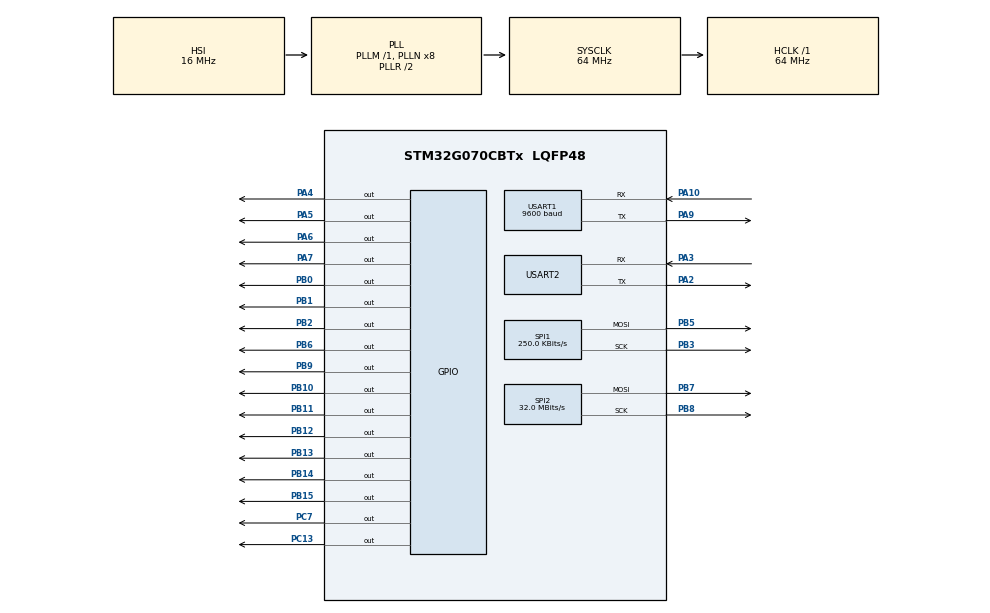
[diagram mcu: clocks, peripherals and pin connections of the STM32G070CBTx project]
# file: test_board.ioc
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Dma.Request0=USART1_RX
Dma.Request1=USART1_TX
Dma.Request2=USART2_RX
Dma.Request3=USART2_TX
Dma.USART1_RX.0.Direction=DMA_PERIPH_TO_MEMORY
Dma.USART1_RX.0.EventEnable=DISABLE
Dma.USART1_RX.0.Instance=DMA1_Channel1
Dma.USART1_RX.0.MemDataAlignment=DMA_MDATAALIGN_BYTE
Dma.USART1_RX.0.MemInc=DMA_MINC_ENABLE
Dma.USART1_RX.0.Mode=DMA_CIRCULAR
Dma.USART1_RX.0.PeriphDataAlignment=DMA_PDATAALIGN_BYTE
Dma.USART1_RX.0.PeriphInc=DMA_PINC_DISABLE
Dma.USART1_RX.0.Polarity=HAL_DMAMUX_REQ_GEN_RISING
Dma.USART1_RX.0.Priority=DMA_PRIORITY_LOW
Dma.USART1_RX.0.RequestNumber=1
Dma.USART1_RX.0.SignalID=NONE
Dma.USART1_RX.0.SyncEnable=DISABLE
Dma.USART1_RX.0.SyncPolarity=HAL_DMAMUX_SYNC_NO_EVENT
Dma.USART1_RX.0.SyncRequestNumber=1
Dma.USART1_RX.0.SyncSignalID=NONE
Dma.USART1_TX.1.Direction=DMA_MEMORY_TO_PERIPH
Dma.USART1_TX.1.EventEnable=DISABLE
Dma.USART1_TX.1.Instance=DMA1_Channel2
Dma.USART1_TX.1.MemDataAlignment=DMA_MDATAALIGN_BYTE
Dma.USART1_TX.1.MemInc=DMA_MINC_ENABLE
Dma.USART1_TX.1.Mode=DMA_NORMAL
Dma.USART1_TX.1.PeriphDataAlignment=DMA_PDATAALIGN_BYTE
Dma.USART1_TX.1.PeriphInc=DMA_PINC_DISABLE
Dma.USART1_TX.1.Polarity=HAL_DMAMUX_REQ_GEN_RISING
Dma.USART1_TX.1.Priority=DMA_PRIORITY_LOW
Dma.USART1_TX.1.RequestNumber=1
Dma.USART1_TX.1.SignalID=NONE
Dma.USART1_TX.1.SyncEnable=DISABLE
Dma.USART1_TX.1.SyncPolarity=HAL_DMAMUX_SYNC_NO_EVENT
Dma.USART1_TX.1.SyncRequestNumber=1
Dma.USART1_TX.1.SyncSignalID=NONE
Dma.USART2_RX.2.Direction=DMA_PERIPH_TO_MEMORY
Dma.USART2_RX.2.EventEnable=DISABLE
Dma.USART2_RX.2.Instance=DMA1_Channel3
Dma.USART2_RX.2.MemDataAlignment=DMA_MDATAALIGN_BYTE
Dma.USART2_RX.2.MemInc=DMA_MINC_ENABLE
Dma.USART2_RX.2.Mode=DMA_CIRCULAR
Dma.USART2_RX.2.PeriphDataAlignment=DMA_PDATAALIGN_BYTE
Dma.USART2_RX.2.PeriphInc=DMA_PINC_DISABLE
Dma.USART2_RX.2.Polarity=HAL_DMAMUX_REQ_GEN_RISING
Dma.USART2_RX.2.Priority=DMA_PRIORITY_LOW
Dma.USART2_RX.2.RequestNumber=1
Dma.USART2_RX.2.SignalID=NONE
Dma.USART2_RX.2.SyncEnable=DISABLE
Dma.USART2_RX.2.SyncPolarity=HAL_DMAMUX_SYNC_NO_EVENT
Dma.USART2_RX.2.SyncRequestNumber=1
Dma.USART2_RX.2.SyncSignalID=NONE
Dma.USART2_TX.3.Direction=DMA_MEMORY_TO_PERIPH
Dma.USART2_TX.3.EventEnable=DISABLE
Dma.USART2_TX.3.Instance=DMA1_Channel4
Dma.USART2_TX.3.MemDataAlignment=DMA_MDATAALIGN_BYTE
Dma.USART2_TX.3.MemInc=DMA_MINC_ENABLE
Dma.USART2_TX.3.Mode=DMA_NORMAL
Dma.USART2_TX.3.PeriphDataAlignment=DMA_PDATAALIGN_BYTE
Dma.USART2_TX.3.PeriphInc=DMA_PINC_DISABLE
Dma.USART2_TX.3.Polarity=HAL_DMAMUX_REQ_GEN_RISING
Dma.USART2_TX.3.Priority=DMA_PRIORITY_LOW
Dma.USART2_TX.3.RequestNumber=1
Dma.USART2_TX.3.SignalID=NONE
Dma.USART2_TX.3.SyncEnable=DISABLE
Dma.USART2_TX.3.SyncPolarity=HAL_DMAMUX_SYNC_NO_EVENT
Dma.USART2_TX.3.SyncRequestNumber=1
Dma.USART2_TX.3.SyncSignalID=NONE
Mcu.Family=STM32G0
Mcu.Name=STM32G070CBTx
Mcu.Package=LQFP48
NVIC.DMA1_Ch4_7_DMAMUX1_OVR_IRQn=true\:0\:0\:false\:false\:true\:false\:true
NVIC.DMA1_Channel1_IRQn=true\:0\:0\:false\:false\:true\:false\:true
NVIC.DMA1_Channel2_3_IRQn=true\:0\:0\:false\:false\:true\:false\:true
NVIC.TIM1_BRK_UP_TRG_COM_IRQn=true\:0\:0\:false\:false\:true\:true\:true
NVIC.USART1_IRQn=true\:0\:0\:false\:false\:true\:true\:true
NVIC.USART2_IRQn=true\:0\:0\:false\:false\:true\:true\:true
PA10.Mode=Asynchronous
PA10.Signal=USART1_RX
PA13.Mode=Serial_Wire
PA13.Signal=SYS_SWDIO
PA14-BOOT0.Mode=Serial_Wire
PA14-BOOT0.Signal=SYS_SWCLK
PA2.Mode=Asynchronous
PA2.Signal=USART2_TX
PA3.Mode=Asynchronous
PA3.Signal=USART2_RX
PA4.Signal=GPIO_Output
PA5.Signal=GPIO_Output
PA6.Signal=GPIO_Output
PA7.Signal=GPIO_Output
PA9.Mode=Asynchronous
PA9.Signal=USART1_TX
PB0.Signal=GPIO_Output
PB1.Signal=GPIO_Output
PB10.Signal=GPIO_Output
PB11.Signal=GPIO_Output
PB12.Signal=GPIO_Output
PB13.Signal=GPIO_Output
PB14.Signal=GPIO_Output
PB15.Signal=GPIO_Output
PB2.Signal=GPIO_Output
PB3.Mode=TX_Only_Simplex_Unidirect_Master
PB3.Signal=SPI1_SCK
PB5.Mode=TX_Only_Simplex_Unidirect_Master
PB5.Signal=SPI1_MOSI
PB6.Signal=GPIO_Output
PB7.Mode=TX_Only_Simplex_Unidirect_Master
PB7.Signal=SPI2_MOSI
PB8.Mode=TX_Only_Simplex_Unidirect_Master
PB8.Signal=SPI2_SCK
PB9.Signal=GPIO_Output
PC13.Signal=GPIO_Output
PC7.Signal=GPIO_Output
ProjectManager.HeapSize=0x200
ProjectManager.StackSize=0x400
ProjectManager.TargetToolchain=MDK-ARM V5.32
RCC.ADCFreq_Value=64000000
RCC.AHBFreq_Value=64000000
RCC.CortexFreq_Value=64000000
RCC.EXTERNAL_CLOCK_VALUE=48000
RCC.HCLKFreq_Value=64000000
RCC.HSE_VALUE=8000000
RCC.HSI_VALUE=16000000
RCC.LSE_VALUE=32768
RCC.SYSCLKFreq_VALUE=64000000
RCC.SYSCLKSource=RCC_SYSCLKSOURCE_PLLCLK
RCC.VCOOutputFreq_Value=128000000
SPI1.BaudRatePrescaler=SPI_BAUDRATEPRESCALER_256
SPI1.CalculateBaudRate=250.0 KBits/s
SPI1.DataSize=SPI_DATASIZE_8BIT
SPI1.Direction=SPI_DIRECTION_2LINES
SPI1.Mode=SPI_MODE_MASTER
SPI1.VirtualType=VM_MASTER
SPI2.CLKPolarity=SPI_POLARITY_HIGH
SPI2.CalculateBaudRate=32.0 MBits/s
SPI2.DataSize=SPI_DATASIZE_8BIT
SPI2.Direction=SPI_DIRECTION_2LINES
SPI2.Mode=SPI_MODE_MASTER
SPI2.VirtualType=VM_MASTER
TIM1.AutoReloadPreload=TIM_AUTORELOAD_PRELOAD_ENABLE
TIM1.Period=30000-1
TIM1.Prescaler=64-1
USART1.BaudRate=9600
USART1.VirtualMode-Asynchronous=VM_ASYNC
USART2.VirtualMode-Asynchronous=VM_ASYNC
VP_SYS_VS_DBSignals.Mode=DisableDeadBatterySignals
VP_TIM1_VS_ClockSourceINT.Mode=Internal
board=custom

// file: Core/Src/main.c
/* USER CODE BEGIN Header */
/**
  ******************************************************************************
  * @file           : main.c
  * @brief          : Main program body
  ******************************************************************************
  * @attention
  *
  * Copyright (c) 2022 STMicroelectronics.
  * All rights reserved.
  *
  * This software is licensed under terms that can be found in the LICENSE file
  * in the root directory of this software component.
  * If no LICENSE file comes with this software, it is provided AS-IS.
  *
  ******************************************************************************
  */
/* USER CODE END Header */
#include "main.h"
#include "dma.h"
#include "spi.h"
#include "tim.h"
#include "usart.h"
#include "gpio.h"

/* USER CODE BEGIN Includes */
#include "math.h"
#include "SEGGER_RTT.h"
#include "hal_spi.h"
#include "hal_uart.h"
#include "hal_key.h"
#include "hal_base.h"
#include "com_lcd_dev.h"
#include "com_tlv5618.h"
#include "com_mds560r.h"
#include "com_delay.h"
/* USER CODE END Includes */

/* USER CODE BEGIN PV */
hal_do_id_t lcd_cs;
hal_do_id_t lcd_rst;
hal_do_id_t mds560r_dir;
hal_do_id_t test_led;
hal_do_id_t led1;
hal_do_id_t led2;
hal_do_id_t led3;
hal_do_id_t led4;

hal_key_id_t key_1;     ///< key 1
hal_key_id_t key_2;     ///< key 2
hal_key_id_t key_3;     ///< key 3
hal_key_id_t key_4;     ///< key 4

hal_spi_bus_id_t hal_spi1;
hal_spi_bus_id_t hal_spi2;
hal_spi_dev_id_t lcd_dev;
hal_spi_dev_id_t tlv5618_dev;
uint16_t tlv5618_dev_1;
hal_uart_id_t mds560r_dev;
uint16_t mds560r_dev_1;
uint8_t uart_rx_buf[64];		//
uint8_t uart_tx_buf[64];		//
uint8_t pressure_gauge_message[10] = {0,1,2,3,4,5,6,7,8,9};
extern DMA_HandleTypeDef hdma_usart1_rx;

uint8_t key_1_push = 0;
uint8_t TIM_Flag = 0;
uint8_t TRIG_Flag = 0;
uint8_t n = 0;
float pres_arry[5] = {0};
float ExpPres = 0.5;
float TrigPres = 0.0;
#define PID_INIT 0.0
#define PID_KP 0.0
#define PID_KI 0.0
#define PID_KD 0.0
enum arry_index{
    INDEX_0 = 0,
    INDEX_1,
    INDEX_2,
    INDEX_3,
    INDEX_4,
};
enum flag{
    FLAG_0 = 0,
    FLAG_1,
};

#define PRES_ERR 0.02
#define STEP 0.02
/* USER CODE END PV */

void SystemClock_Config(void);

/* USER CODE BEGIN 0 */
struct _pid {
	float SetPressure;            //定义设定值
	float ActualPressure;        //定义实际值
	float err;                //定义偏差值
	float err_last;            //定义上一个偏差值
	float Kp, Ki, Kd;          //定义比例、积分、微分系数
	float voltage;          //定义电压值（控制执行器的变量）
	float integral;            //定义积分值
} pid;

void PID_init() {
	SEGGER_RTT_printf(0,"PID_init begin \n");
	pid.SetPressure = PID_INIT;
	pid.ActualPressure = PID_INIT;
	pid.err = PID_INIT;
	pid.err_last = PID_INIT;
	pid.voltage = PID_INIT;
	pid.integral = PID_INIT;
	pid.Kp = PID_KP;
	pid.Ki = PID_KI;
	pid.Kd = PID_KD;
	SEGGER_RTT_printf(0,"PID_init end \n");
}

float PID_realize(float pressure) {
	pid.SetPressure = pressure;

	pid.err = pid.SetPressure - pid.ActualPressure;
	pid.integral += pid.err;
	pid.voltage = pid.Kp * pid.err + pid.Ki * pid.integral + pid.Kd * (pid.err - pid.err_last);
	pid.err_last = pid.err;
	//pid.ActualPressure = (float)(((uint16_t)pressure_gauge_message[3] << 8) + pressure_gauge_message[4]) / 100;

	return pid.ActualPressure;
}

void key_cb(hal_key_id_t key_id, hal_key_msg_type msg_type)
{
    // if key push, turn on beep 30ms
    switch(msg_type){
        case HAL_KEY_MSG_PUSH:
            SEGGER_RTT_printf(0, "Some key have been push!\r\n");
            break;
        default:
            break;
    }

    if(key_id == key_1){
        switch(msg_type){
            case HAL_KEY_MSG_PUSH:
                SEGGER_RTT_printf(0, "key_1 push!\r\n");
                key_1_push = FLAG_1;
                TIM_Flag = FLAG_1;
                com_lcd_clear_screen();
                com_lcd_disp_str(0, 0, (uint8_t*)"开始测试...");
                break;
            case HAL_KEY_MSG_LONG_PUSH:
                SEGGER_RTT_printf(0, "key_1 long push!\r\n");
                break;
            case HAL_KEY_MSG_REP_PUSH:
                SEGGER_RTT_printf(0, "key_1 rep push!\r\n");
                break;
            case HAL_KEY_MSG_UP:
                SEGGER_RTT_printf(0, "key_1 up!\r\n");
                break;
            default:
                break;
        }
    }

    if(key_id == key_2){
        switch(msg_type){
            case HAL_KEY_MSG_PUSH:
                SEGGER_RTT_printf(0, "key_2 push!\r\n");
                break;
            case HAL_KEY_MSG_LONG_PUSH:
                SEGGER_RTT_printf(0, "key_2 long push!\r\n");
                break;
            case HAL_KEY_MSG_REP_PUSH:
                SEGGER_RTT_printf(0, "key_2 rep push!\r\n");
                break;
            case HAL_KEY_MSG_UP:
                SEGGER_RTT_printf(0, "key_2 up!\r\n");
                break;
            default:
                break;
        }
    }

    if(key_id == key_3){
        switch(msg_type){
            case HAL_KEY_MSG_PUSH:
                SEGGER_RTT_printf(0, "key_3 push!\r\n");
                break;
            case HAL_KEY_MSG_LONG_PUSH:
                SEGGER_RTT_printf(0, "key_3 long push!\r\n");
                break;
            case HAL_KEY_MSG_REP_PUSH:
                SEGGER_RTT_printf(0, "key_3 rep push!\r\n");
                break;
            case HAL_KEY_MSG_UP:
                SEGGER_RTT_printf(0, "key_3 up!\r\n");
                break;
            default:
                break;
        }
    }

    if(key_id == key_4){
        switch(msg_type){
            case HAL_KEY_MSG_PUSH:
                SEGGER_RTT_printf(0, "key_4 push!\r\n");
                break;
            case HAL_KEY_MSG_LONG_PUSH:
                SEGGER_RTT_printf(0, "key_4 long push!\r\n");
                break;
            case HAL_KEY_MSG_REP_PUSH:
                SEGGER_RTT_printf(0, "key_4 rep push!\r\n");
                break;
            case HAL_KEY_MSG_UP:
                SEGGER_RTT_printf(0, "key_4 up!\r\n");
                break;
            default:
                break;
        }
    }

}

void uart_cb(uint16_t uart_dev_id, uint8_t *data_p, uint16_t len)
{
    //SEGGER_RTT_printf(0, "%d\r\n",data_p[5]);
    for(int a = 0; a < 7; a ++){
        pressure_gauge_message[a] = data_p[a];
    }
    //HAL_UART_Transmit(&huart2, pressure_gauge_message, 7, 100);

}
/* USER CODE END 0 */

int main(void)
{
  /* USER CODE BEGIN 1 */
    uint16_t i = 0;

  /* USER CODE END 1 */

  /* MCU Configuration--------------------------------------------------------*/

  /* Reset of all peripherals, Initializes the Flash interface and the Systick. */
  HAL_Init();

  /* Configure the system clock */
  SystemClock_Config();

  /* Initialize all configured peripherals */
  MX_DMA_Init();
  MX_GPIO_Init();
  MX_SPI1_Init();
  MX_SPI2_Init();
  MX_USART1_UART_Init();
  MX_USART2_UART_Init();
  MX_TIM1_Init();
  /* USER CODE BEGIN 2 */
    HAL_TIM_Base_Start_IT(&htim1);
    PID_init();
    hal_base_init();

    hal_do_init(7);
    hal_do_creat(&lcd_cs,LCD_CS_GPIO_Port,LCD_CS_Pin,HAL_DO_POLAR_POSITIVE);
    hal_do_creat(&mds560r_dir,MDS560R_DIR_GPIO_Port,MDS560R_DIR_Pin,HAL_DO_POLAR_POSITIVE);
    hal_do_creat(&test_led,TEST_LED_GPIO_Port,TEST_LED_Pin,HAL_DO_POLAR_POSITIVE);
    hal_do_creat(&led1,LED1_GPIO_Port,LED1_Pin,HAL_DO_POLAR_POSITIVE);
    hal_do_creat(&led2,LED2_GPIO_Port,LED2_Pin,HAL_DO_POLAR_POSITIVE);
    hal_do_creat(&led3,LED3_GPIO_Port,LED3_Pin,HAL_DO_POLAR_POSITIVE);
    hal_do_creat(&led4,LED4_GPIO_Port,LED4_Pin,HAL_DO_POLAR_POSITIVE);

    hal_key_init(4);
    hal_key_creat(&key_1,KEY_1_GPIO_Port,KEY_1_Pin,HAL_KEY_POLAR_POSITIVE,&key_cb);
    hal_key_creat(&key_2,KEY_2_GPIO_Port,KEY_2_Pin,HAL_KEY_POLAR_POSITIVE,&key_cb);
    hal_key_creat(&key_3,KEY_3_GPIO_Port,KEY_3_Pin,HAL_KEY_POLAR_POSITIVE,&key_cb);
    hal_key_creat(&key_4,KEY_4_GPIO_Port,KEY_4_Pin,HAL_KEY_POLAR_POSITIVE,&key_cb);

    hal_spi_bus_init(2);
    hal_spi_bus_creat(&hal_spi1,&hspi1);
    hal_spi_dev_init(hal_spi1,1);
    hal_spi_dev_creat(hal_spi1,&lcd_dev,LCD_CS_GPIO_Port,LCD_CS_Pin);

    hal_spi_bus_creat(&hal_spi2,&hspi2);
    hal_spi_dev_init(hal_spi2,1);
    hal_spi_dev_creat(hal_spi2,&tlv5618_dev,TLV5618_CS_GPIO_Port,TLV5618_CS_Pin);

    com_lcd_creat(hal_spi1,lcd_dev,lcd_cs,lcd_rst);
    com_tlv5618_init(1);
    com_tlv5618_creat(&tlv5618_dev_1,hal_spi2,tlv5618_dev);

    hal_uart_init(1);
    hal_uart_creat(&mds560r_dev, &huart1, &hdma_usart1_rx, NULL, uart_cb, uart_rx_buf, 64);
    com_mds560r_init(1);
    com_mds560r_creat(&mds560r_dev_1,mds560r_dev,mds560r_dir);

    com_lcd_init();
    com_lcd_clear_screen();
    com_lcd_disp_str(0, 0, (uint8_t*)"请点击右上方按键进行测试!");
    //com_lcd_disp_str(1, 0, (uint8_t*)"疑是地上霜。");
    //com_lcd_disp_str(2, 0, (uint8_t*)"举头望明月，");
    //com_lcd_disp_str(3, 0, (uint8_t*)"低头思故乡。");

    //com_tlv5618_set_voltage(tlv5618_dev_1, WRITE_DAC_A, 0.6);

    com_mds560r_read_data(mds560r_dev_1);

    //hal_do_output_high(led1);
    //hal_do_output_high(led3);

    //HAL_GPIO_WritePin(GPIOB, GPIO_PIN_9, GPIO_PIN_RESET);
  /* USER CODE END 2 */

  /* Infinite loop */
  /* USER CODE BEGIN WHILE */
    while (1)
    {
        hal_key_poll();
        hal_base_timer_timeout();
        i++;
        if(i == 10000){
            hal_do_output_high(test_led);
        }
        if(i >= 20000){
            hal_do_output_low(test_led);
            i = 0;
        }

    /* USER CODE END WHILE */

    }
}

void SystemClock_Config(void)
{
  RCC_OscInitTypeDef RCC_OscInitStruct = {0};
  RCC_ClkInitTypeDef RCC_ClkInitStruct = {0};

  /** Configure the main internal regulator output voltage
  */
  HAL_PWREx_ControlVoltageScaling(PWR_REGULATOR_VOLTAGE_SCALE1);
  /** Initializes the RCC Oscillators according to the specified parameters
  * in the RCC_OscInitTypeDef structure.
  */
  RCC_OscInitStruct.OscillatorType = RCC_OSCILLATORTYPE_HSI;
  RCC_OscInitStruct.HSIState = RCC_HSI_ON;
  RCC_OscInitStruct.HSIDiv = RCC_HSI_DIV1;
  RCC_OscInitStruct.HSICalibrationValue = RCC_HSICALIBRATION_DEFAULT;
  RCC_OscInitStruct.PLL.PLLState = RCC_PLL_ON;
  RCC_OscInitStruct.PLL.PLLSource = RCC_PLLSOURCE_HSI;
  RCC_OscInitStruct.PLL.PLLM = RCC_PLLM_DIV1;
  RCC_OscInitStruct.PLL.PLLN = 8;
  RCC_OscInitStruct.PLL.PLLP = RCC_PLLP_DIV2;
  RCC_OscInitStruct.PLL.PLLR = RCC_PLLR_DIV2;
  if (HAL_RCC_OscConfig(&RCC_OscInitStruct) != HAL_OK)
  {
    Error_Handler();
  }
  /** Initializes the CPU, AHB and APB buses clocks
  */
  RCC_ClkInitStruct.ClockType = RCC_CLOCKTYPE_HCLK|RCC_CLOCKTYPE_SYSCLK
                              |RCC_CLOCKTYPE_PCLK1;
  RCC_ClkInitStruct.SYSCLKSource = RCC_SYSCLKSOURCE_PLLCLK;
  RCC_ClkInitStruct.AHBCLKDivider = RCC_SYSCLK_DIV1;
  RCC_ClkInitStruct.APB1CLKDivider = RCC_HCLK_DIV1;

  if (HAL_RCC_ClockConfig(&RCC_ClkInitStruct, FLASH_LATENCY_2) != HAL_OK)
  {
    Error_Handler();
  }
}

/* USER CODE BEGIN 4 */
void HAL_TIM_PeriodElapsedCallback(TIM_HandleTypeDef *htim)
{
    if(TIM_Flag == FLAG_1){
        n++;
        if(n >= 15){
            n = 0;
            uint16_t j = 0;
            uint8_t k = 0;
            com_mds560r_read_data(mds560r_dev_1);
            while((pressure_gauge_message[0] != 1) || (pressure_gauge_message[1] != 3)){
                j ++;
                if(j >= 1000){
                    break;
                }
            }
            if(j >= 1000){
                SEGGER_RTT_printf(0, "pressure gauge error!\r\n");
                for(k = 0; k < 7; k ++){
                    SEGGER_RTT_printf(0, "%d\r\n",pressure_gauge_message[k]);
                    pressure_gauge_message[k] = 0;
                }
            }
            else{
                pid.ActualPressure = (float)(((uint16_t)pressure_gauge_message[3] << 8) + pressure_gauge_message[4]) / 100;
                for(int ii = 4; ii > 0; ii--){
                    pres_arry[ii] = pres_arry[ii - 1];
                }
                pres_arry[INDEX_0] = pid.ActualPressure;
                if((fabs(pres_arry[INDEX_0] - ExpPres) <= PRES_ERR) && (fabs(pres_arry[INDEX_1] - ExpPres) <= PRES_ERR) && (fabs(pres_arry[INDEX_2] - ExpPres) <= PRES_ERR)
                && (fabs(pres_arry[INDEX_3] - ExpPres) <= PRES_ERR) && (fabs(pres_arry[INDEX_4] - ExpPres) <= PRES_ERR)){
                    ExpPres += STEP;
                }
                if((pres_arry[INDEX_0] < pres_arry[INDEX_1]) && (pres_arry[INDEX_1] < pres_arry[INDEX_2]) &&
                (pres_arry[INDEX_2] < pres_arry[INDEX_3]) && (pres_arry[INDEX_3] < pres_arry[INDEX_4])){
                    TrigPres = ExpPres;
                    com_lcd_disp_str(0, 0, (uint8_t*)"此处需要显示TrigPres的值");
                    pid.voltage = PID_INIT;
                    com_tlv5618_set_voltage(tlv5618_dev_1, WRITE_DAC_A, pid.voltage);
                    TIM_Flag = FLAG_0;
                    TRIG_Flag = FLAG_1;
                }
                else{
                    PID_realize(ExpPres);
                    com_tlv5618_set_voltage(tlv5618_dev_1, WRITE_DAC_A, pid.voltage);
                }
                SEGGER_RTT_printf(0, "Pressure:%f\r\n", pid.ActualPressure);
                SEGGER_RTT_printf(0, "Vol:%f\r\n", pid.voltage);

                for(k = 0; k < 7; k ++){
                    pressure_gauge_message[k] = k;
                }

            }
        }
    }
    if(TRIG_Flag == FLAG_1){
        uint16_t jj = 0;
        uint8_t kk = 0;
        n++;
        if(n >= 15){
            n = 0;
            com_mds560r_read_data(mds560r_dev_1);
            while((pressure_gauge_message[0] != 1) || (pressure_gauge_message[1] != 3)){
                jj ++;
                if(jj >= 1000){
                    break;
                }
            }
            if(jj >= 1000){
                SEGGER_RTT_printf(0, "pressure gauge error!\r\n");
                for(kk = 0; kk < 7; kk ++){
                    SEGGER_RTT_printf(0, "%d\r\n",pressure_gauge_message[kk]);
                    pressure_gauge_message[kk] = 0;
                }
            }
            else{
                pid.ActualPressure = (float)(((uint16_t)pressure_gauge_message[3] << 8) + pressure_gauge_message[4]) / 100;
                for(int ii = 4; ii > 0; ii--){
                    pres_arry[ii] = pres_arry[ii - 1];
                }
                pres_arry[INDEX_0] = pid.ActualPressure;
                if((fabs(pres_arry[INDEX_0] - pres_arry[INDEX_1]) <= PRES_ERR) && (fabs(pres_arry[INDEX_0] - pres_arry[INDEX_2]) <= PRES_ERR) && (fabs(pres_arry[INDEX_0] - pres_arry[INDEX_3]) <= PRES_ERR)
                && (fabs(pres_arry[INDEX_0] - pres_arry[INDEX_4]) <= PRES_ERR)){
                    com_lcd_disp_str(0, 0, (uint8_t*)"此处需要显示pres_arry[INDEX_0]的值");
                }
            }
        }
    }
}
/* USER CODE END 4 */

void Error_Handler(void)
{
  __disable_irq();
  while (1)
  {
  }
}

size_t get_sys_time_ms(void)
{
	return HAL_GetTick();
}
